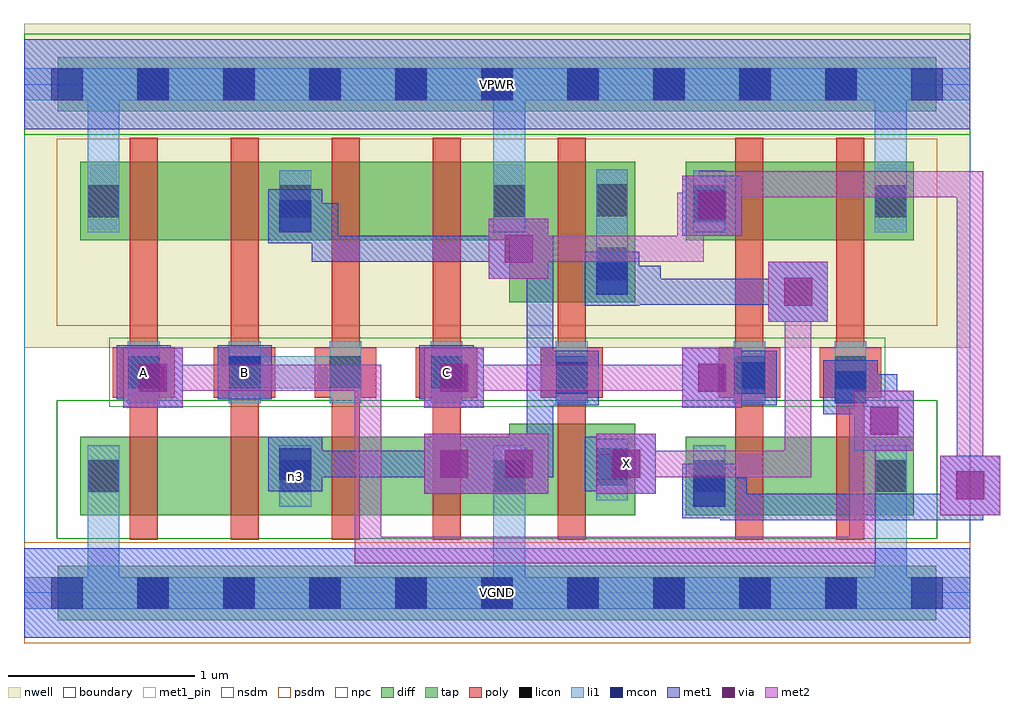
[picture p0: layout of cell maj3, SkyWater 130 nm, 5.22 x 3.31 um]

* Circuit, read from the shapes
.subckt maj3 A B C VGND VPWR X n3
XM1 n1 A VGND VGND sky130_fd_pr__nfet_01v8 w=0.42 l=0.15
XM2 n3 B n1 VGND sky130_fd_pr__nfet_01v8 w=0.42 l=0.15
XM3 n2 B n3 VGND sky130_fd_pr__nfet_01v8 w=0.42 l=0.15
XM4 VGND C n2 VGND sky130_fd_pr__nfet_01v8 w=0.42 l=0.15
XM5 X n3 VGND VGND sky130_fd_pr__nfet_01v8 w=0.49 l=0.15
XM6 n4 C n3 VGND sky130_fd_pr__nfet_01v8 w=0.42 l=0.15
XM7 VGND A n4 VGND sky130_fd_pr__nfet_01v8 w=0.42 l=0.15
XM8 n5 A VPWR VPWR sky130_fd_pr__pfet_01v8 w=0.42 l=0.15
XM9 n3 B n5 VPWR sky130_fd_pr__pfet_01v8 w=0.42 l=0.15
XM10 n6 B n3 VPWR sky130_fd_pr__pfet_01v8 w=0.42 l=0.15
XM11 VPWR C n6 VPWR sky130_fd_pr__pfet_01v8 w=0.42 l=0.15
XM12 X n3 VPWR VPWR sky130_fd_pr__pfet_01v8 w=0.75 l=0.15
XM13 n7 C n3 VPWR sky130_fd_pr__pfet_01v8 w=0.42 l=0.15
XM14 VPWR A n7 VPWR sky130_fd_pr__pfet_01v8 w=0.42 l=0.15
.ends

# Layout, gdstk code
import gdstk
lib = gdstk.Library(unit=1e-6, precision=1e-09)
def R(c, l, rs):  # rectangles x0, y0, x1, y1
    for r in rs: c.add(gdstk.rectangle(r[:2], r[2:], *l))
def A(c, l, x, y, w, h, nx, ny, dx, dy):  # array of equal rectangles
    R(c, l, [(x+i*dx, y+j*dy, x+i*dx+w, y+j*dy+h) for i in range(nx) for j in range(ny)])
nwell = (64, 20)
diff = (65, 20)
tap = (65, 44)
poly = (66, 20)
licon = (66, 44)
li1 = (67, 20)
mcon = (67, 44)
met1_pin = (68, 16)
met1 = (68, 20)
via = (68, 44)
met2 = (69, 20)
nsdm = (93, 44)
psdm = (94, 20)
npc = (95, 20)
boundary = (235, 4)

maj3 = lib.new_cell('maj3')
R(maj3, nwell, [(0,1.31,5.06,3.045)])
R(maj3, diff, [(0.3,0.415,2.595,0.835), (2.595,0.415,3.27,0.905), (3.54,0.415,4.76,0.835), (2.595,1.555,3.27,2.305), (0.3,1.885,2.595,2.305), (3.54,1.885,4.76,2.305)])
R(maj3, tap, [(0.18,-0.145,4.88,0.145), (0.18,2.575,4.88,2.865)])
A(maj3, poly, 0.565, 0.285, 0.15, 2.15, 4, 1, 0.54, 0)
A(maj3, poly, 0.475, 1.045, 0.33, 0.27, 4, 1, 0.54, 0)
R(maj3, poly, [(2.855,0.285,3.005,2.435), (3.805,0.285,3.955,2.435), (4.345,0.285,4.495,2.435), (2.765,1.045,3.095,1.315), (3.715,1.045,4.045,1.315), (4.255,1.045,4.585,1.315)])
A(maj3, licon, 0.605, -0.085, 0.17, 0.17, 9, 2, 0.46, 2.72)
A(maj3, licon, 0.555, 1.095, 0.17, 0.17, 4, 1, 0.54, 0)
R(maj3, licon, [(0.34,0.54,0.51,0.71), (1.365,0.54,1.535,0.71), (2.51,0.54,2.68,0.71), (3.58,0.54,3.75,0.71), (4.55,0.54,4.72,0.71), (3.06,0.575,3.23,0.745), (2.845,1.095,3.015,1.265), (3.795,1.095,3.965,1.265), (4.335,1.095,4.505,1.265), (3.06,1.675,3.23,1.845), (0.34,2.01,0.51,2.18), (1.365,2.01,1.535,2.18), (2.51,2.01,2.68,2.18), (3.58,2.01,3.75,2.18), (4.55,2.01,4.72,2.18), (3.06,2.015,3.23,2.185)])
A(maj3, li1, 0.555, 1.015, 0.17, 0.33, 4, 1, 0.54, 0)
R(maj3, li1, [(0,-0.085,5.06,0.085), (0.34,-0.085,0.51,0.79), (2.51,-0.085,2.68,0.79), (4.55,-0.085,4.72,0.79), (0.34,0.46,0.51,0.79), (1.365,0.46,1.535,0.79), (2.51,0.46,2.68,0.79), (3.58,0.46,3.75,0.79), (4.55,0.46,4.72,0.79), (3.06,0.495,3.23,0.825), (2.845,1.015,3.015,1.345), (3.795,1.015,3.965,1.345), (4.335,1.015,4.505,1.345), (1.095,1.095,1.805,1.265), (3.06,1.595,3.23,2.265), (0.34,1.93,0.51,2.26), (0.34,1.93,0.51,2.805), (1.365,1.93,1.535,2.26), (2.51,1.93,2.68,2.26), (2.51,1.93,2.68,2.805), (3.58,1.93,3.75,2.26), (4.55,1.93,4.72,2.26), (4.55,1.93,4.72,2.805), (0,2.635,5.06,2.805)])
A(maj3, mcon, 0.145, -0.085, 0.17, 0.17, 11, 2, 0.46, 2.72)
R(maj3, mcon, [(3.58,0.46,3.75,0.63), (1.365,0.605,1.535,0.775), (3.06,0.605,3.23,0.775), (4.335,1.015,4.505,1.185), (2.845,1.065,3.015,1.235), (3.795,1.065,3.965,1.235), (0.555,1.095,0.725,1.265), (1.095,1.095,1.265,1.265), (2.175,1.095,2.345,1.265), (3.06,1.595,3.23,1.765), (1.365,1.93,1.535,2.1), (3.58,1.985,3.75,2.155)])
R(maj3, met1_pin, [(0,-0.24,5.06,0.24), (3.06,0.53,3.38,0.85), (0.495,1.035,0.785,1.325), (1.035,1.035,1.325,1.325), (2.115,1.035,2.405,1.325), (0,2.48,5.06,2.96)])
R(maj3, met1, [(0,-0.24,5.06,0.24), (3.725,0.39,3.865,0.615), (3.725,0.39,5.13,0.53), (4.99,0.39,5.13,0.645), (3.52,0.4,3.81,0.69), (4.9,0.415,5.22,0.735), (3.595,0.475,3.865,0.615), (2.14,0.53,2.46,0.85), (2.46,0.53,2.485,0.85), (2.485,0.53,2.805,0.85), (3.06,0.53,3.38,0.85), (1.305,0.545,1.595,0.835), (3,0.545,3.29,0.835), (1.38,0.62,1.68,0.76), (1.54,0.62,2.37,0.76), (2.37,0.62,2.485,0.76), (2.46,0.62,2.575,0.76), (2.575,0.62,2.83,0.76), (2.69,0.62,2.83,1.22), (3.075,0.62,3.29,0.76), (4.44,0.76,4.76,1.08), (4.53,0.85,4.67,1.17), (4.275,0.955,4.565,1.245), (0.53,0.99,0.85,1.31), (2.14,0.99,2.46,1.31), (3.52,0.99,3.84,1.31), (2.785,1.005,3.075,1.295), (3.735,1.005,4.025,1.295), (4.35,1.03,4.67,1.17), (0.495,1.035,0.785,1.325), (1.035,1.035,1.325,1.325), (2.115,1.035,2.405,1.325), (0.62,1.08,0.76,1.22), (2.23,1.08,2.37,1.22), (2.69,1.08,3,1.22), (2.69,1.08,2.83,1.91), (3.61,1.08,3.95,1.22), (3.98,1.45,4.3,1.77), (3,1.535,3.29,1.825), (3.265,1.54,3.405,1.75), (3.265,1.54,4.21,1.68), (3.075,1.61,3.405,1.75), (2.485,1.68,2.805,2), (1.54,1.77,1.68,2.085), (1.54,1.77,2.83,1.91), (1.305,1.87,1.595,2.16), (3.52,1.91,3.84,2.23), (3.52,1.925,3.81,2.215), (1.38,1.945,1.68,2.085), (3.595,2,3.75,2.14), (0,2.48,5.06,2.96)])
R(maj3, via, [(4.985,0.5,5.135,0.65), (2.225,0.615,2.375,0.765), (2.57,0.615,2.72,0.765), (3.145,0.615,3.295,0.765), (4.525,0.845,4.675,0.995), (0.615,1.075,0.765,1.225), (2.225,1.075,2.375,1.225), (3.605,1.075,3.755,1.225), (4.065,1.535,4.215,1.685), (2.57,1.765,2.72,1.915), (3.605,1.995,3.755,2.145)])
R(maj3, met2, [(1.77,0.16,1.91,1.22), (1.77,0.16,4.555,0.3), (4.415,0.16,4.555,0.99), (4.9,0.415,5.22,0.735), (4.99,0.505,5.13,2.255), (2.14,0.53,2.46,0.85), (2.46,0.53,2.485,0.85), (2.485,0.53,2.805,0.85), (3.06,0.53,3.38,0.85), (2.23,0.62,2.715,0.76), (3.15,0.62,4.21,0.76), (4.07,0.62,4.21,1.68), (4.44,0.76,4.76,1.08), (4.415,0.85,4.67,0.99), (0.53,0.99,0.85,1.31), (2.14,0.99,2.46,1.31), (3.52,0.99,3.84,1.31), (0.62,1.08,1.91,1.22), (2.23,1.08,3.75,1.22), (3.98,1.45,4.3,1.77), (2.485,1.68,2.805,2), (2.575,1.77,3.635,1.91), (3.495,1.77,3.635,2.14), (3.52,1.91,3.84,2.23), (3.495,2,3.75,2.14), (3.61,2,3.75,2.255), (3.61,2.115,5.13,2.255)])
R(maj3, nsdm, [(0.175,0.29,4.885,1.03), (0,2.45,5.06,2.99)])
R(maj3, psdm, [(0,-0.27,5.06,0.27), (0.175,1.43,4.885,2.43)])
R(maj3, npc, [(0.455,0.995,4.605,1.365)])
R(maj3, boundary, [(0,0,5.06,2.72)])
maj3.add(gdstk.Label('n3', (1.45,0.625), layer=67, texttype=5))
maj3.add(gdstk.Label('A', (0.64,1.18), layer=68, texttype=5))
maj3.add(gdstk.Label('B', (1.18,1.18), layer=68, texttype=5))
maj3.add(gdstk.Label('C', (2.26,1.18), layer=68, texttype=5))
maj3.add(gdstk.Label('X', (3.22,0.69), layer=68, texttype=5))
maj3.add(gdstk.Label('VPWR', (2.53,2.72), layer=68, texttype=5))
maj3.add(gdstk.Label('VGND', (2.53,0), layer=68, texttype=5))
maj3.add(gdstk.Label('A', (0.64,1.18), layer=68, texttype=16))
maj3.add(gdstk.Label('B', (1.18,1.18), layer=68, texttype=16))
maj3.add(gdstk.Label('C', (2.26,1.18), layer=68, texttype=16))
maj3.add(gdstk.Label('X', (3.22,0.69), layer=68, texttype=16))
maj3.add(gdstk.Label('VPWR', (2.53,2.72), layer=68, texttype=16))
maj3.add(gdstk.Label('VGND', (2.53,0), layer=68, texttype=16))

lib.write_gds('maj3.gds')
